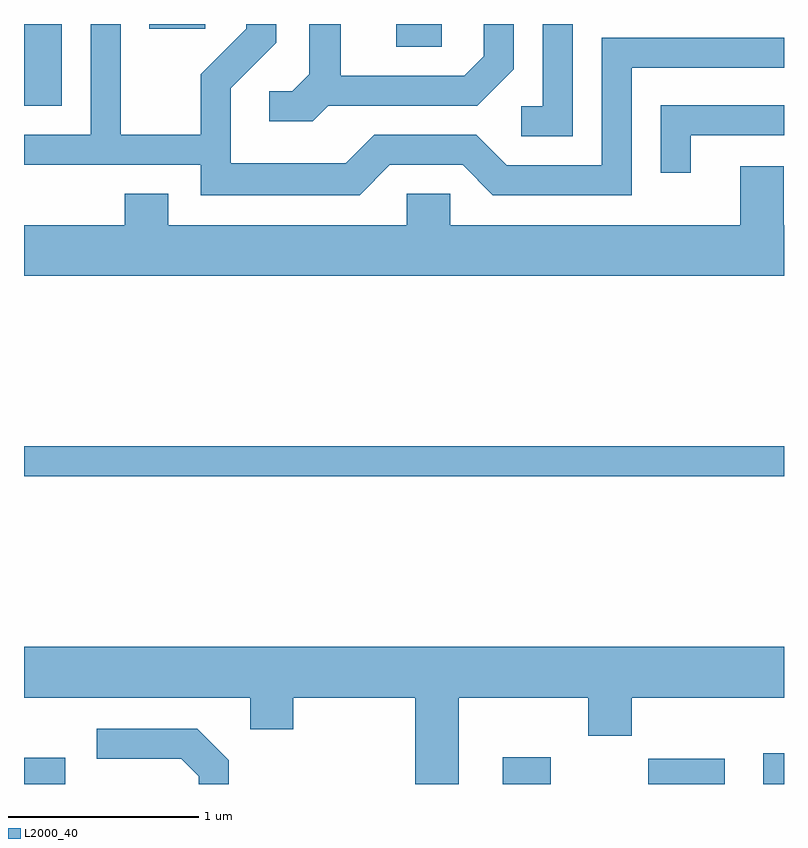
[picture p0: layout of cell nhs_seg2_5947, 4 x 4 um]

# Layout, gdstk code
import gdstk
lib = gdstk.Library(unit=1e-6, precision=1e-09)
def R(c, l, rs):  # rectangles x0, y0, x1, y1
    for r in rs: c.add(gdstk.rectangle(r[:2], r[2:], *l))
def P(c, l, *ps):  # polygons
    for p in ps: c.add(gdstk.Polygon(p, *l))
L2000_40 = (2000, 40)

nhs_seg2_5947 = lib.new_cell('nhs_seg2_5947')
R(nhs_seg2_5947, L2000_40, [(359.611,1107.802,359.829,1107.939), (362.131,1107.802,362.384,1107.944), (362.896,1107.802,363.299,1107.934), (363.501,1107.802,363.611,1107.964), (359.611,1109.421,363.611,1109.579), (359.611,1111.371,359.809,1111.802), (361.571,1111.681,361.809,1111.802), (360.271,1111.776,360.564,1111.802)])
P(nhs_seg2_5947, L2000_40, [(361.537,1111.061),(361.919,1111.061),(362.079,1110.901),(362.809,1110.901),(362.809,1111.571),(363.611,1111.571),(363.611,1111.729),(362.651,1111.729),(362.651,1111.059),(362.152,1111.059),(361.992,1111.219),(361.454,1111.219),(361.304,1111.069),(360.699,1111.069),(360.699,1111.464),(360.939,1111.704),(360.939,1111.802),(360.781,1111.802),(360.781,1111.777),(360.541,1111.537),(360.541,1111.219),(360.119,1111.219),(360.119,1111.802),(359.961,1111.802),(359.961,1111.219),(359.613,1111.219),(359.613,1111.061),(360.541,1111.061),(360.541,1110.901),(361.377,1110.901)],
  [(362.499,1111.802),(362.341,1111.802),(362.341,1111.369),(362.228,1111.369),(362.228,1111.211),(362.499,1111.211)],
  [(361.212,1111.371),(361.997,1111.371),(362.189,1111.564),(362.189,1111.802),(362.031,1111.802),(362.031,1111.632),(361.929,1111.529),(361.279,1111.529),(361.279,1111.802),(361.111,1111.802),(361.111,1111.537),(361.024,1111.449),(360.903,1111.449),(360.903,1111.291),(361.132,1111.291)],
  [(363.119,1111.216),(363.611,1111.216),(363.611,1111.374),(362.961,1111.374),(362.961,1111.018),(363.119,1111.018)],
  [(363.611,1110.744),(363.609,1110.744),(363.609,1111.054),(363.381,1111.054),(363.381,1110.744),(361.854,1110.744),(361.854,1110.909),(361.626,1110.909),(361.626,1110.744),(360.369,1110.744),(360.369,1110.909),(360.141,1110.909),(360.141,1110.744),(359.611,1110.744),(359.611,1110.476),(363.611,1110.476)],
  [(361.899,1108.256),(362.581,1108.256),(362.581,1108.056),(362.809,1108.056),(362.809,1108.256),(363.611,1108.256),(363.611,1108.524),(359.611,1108.524),(359.611,1108.256),(360.801,1108.256),(360.801,1108.091),(361.029,1108.091),(361.029,1108.256),(361.671,1108.256),(361.671,1107.802),(361.899,1107.802)],
  [(360.689,1107.927),(360.522,1108.094),(359.993,1108.094),(359.993,1107.936),(360.439,1107.936),(360.531,1107.844),(360.531,1107.802),(360.689,1107.802)])

lib.write_gds('nhs_seg2_5947.gds')
